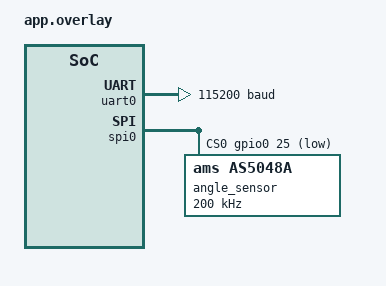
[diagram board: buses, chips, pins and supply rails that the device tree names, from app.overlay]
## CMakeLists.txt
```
# SPDX-License-Identifier: Apache-2.0

cmake_minimum_required(VERSION 3.20.0)

find_package(Zephyr REQUIRED HINTS $ENV{ZEPHYR_BASE})
project(as5048)

target_sources(app PRIVATE src/main.c)
```

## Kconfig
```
# Copyright (c) 2020, Nordic Semiconductor ASA
# SPDX-License-Identifier: Apache-2.0


config LOG
	default y

config LOG_PRINTK
	default y

config SENSOR_LOG_LEVEL
	default 4

# Enable SPI and I2C support by default so that the sample works with
# the device connected either way. These defaults can be overridden if
# needed.
config SPI
	default y

source "Kconfig.zephyr"
```

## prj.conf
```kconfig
CONFIG_SPI=y
CONFIG_GPIO=y
CONFIG_SENSOR=y
CONFIG_AS5048A=y

CONFIG_NEWLIB_LIBC=y
```

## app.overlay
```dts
/{

};

&pinctrl {
    spi0_default: spi0_default{
        group1 {
            psels = <NRF_PSEL(SPIM_SCK, 0, 17)>,
                    <NRF_PSEL(SPIM_MISO, 0, 18)>,
                    <NRF_PSEL(SPIM_MOSI, 0, 24)>;
        };
    };

    uart0_default:uart0_default {
        group1 {
            psels = < NRF_PSEL(UART_TX, 0, 6) >;
        };
        group2 {
            psels = < NRF_PSEL(UART_RX, 0, 8) >;
        };
    };
};

&uart0{
    status = "okay";
    current-speed = < 115200 >;
};

&spi0 {
    status = "okay";
    cs-gpios = <&gpio0 25 GPIO_ACTIVE_LOW>;
    as5048a@0 {
        status = "okay";
        compatible = "ams,as5048a";
        reg = <0x0 >;
        spi-max-frequency = < 200000 >;
        label = "angle_sensor";
    };
};
```

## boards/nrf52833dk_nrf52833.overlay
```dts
/{

};

&spi0 {
    status = "okay";
    cs-gpios = <&gpio0 25 GPIO_ACTIVE_LOW>;
    as5048a@0 {
        status = "okay";
        compatible = "ams,as5048a";
        reg = < 0x00 >;
        spi-max-frequency = < 200000 >;
        label = "as5048a";
    };
};
```

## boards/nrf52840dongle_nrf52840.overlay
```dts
/{
    chosen {
        zephyr,console = &cdc_acm_uart0;
    };
};

&zephyr_udc0 {
	cdc_acm_uart0: cdc_acm_uart0 {
		compatible = "zephyr,cdc-acm-uart";
		label = "CDC_ACM_0";
	};
};

&spi1 {
    status = "okay";
    cs-gpios = <&gpio0 25 GPIO_ACTIVE_LOW>;
    as5048a@0 {
        status = "okay";
        compatible = "ams,as5048a";
        reg = < 0x00 >;
        spi-max-frequency = < 200000 >;
        label = "as5048a";
    };
};
```

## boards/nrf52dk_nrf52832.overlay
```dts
&uart0 {
    status = "okay";
    current-speed = < 115200 >;
};


&spi0 {
    status = "okay";
    cs-gpios = <&gpio0 25 GPIO_ACTIVE_LOW>;
    as5048a@0 {
        status = "okay";
        compatible = "ams,as5048a";
        reg = < 0x00 >;
        spi-max-frequency = < 200000 >;
        label = "as5048a";
    };
};
```

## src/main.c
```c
/*
 * Copyright (c) 2012-2014 Wind River Systems, Inc.
 * Copyright (c) 2021 Nordic Semiconductor ASA
 *
 * SPDX-License-Identifier: Apache-2.0
 */

#include <zephyr.h>
#include <zephyr/device.h>
#include <zephyr/devicetree.h>
#include <zephyr/drivers/sensor.h>
#include <sys/printk.h>


/*
 * Get a device structure from a devicetree node with compatible
 * "ams,as5048a". (If there are multiple, just pick one.)
 */
static const struct device *get_as5048a_device(void)
{
	const struct device *dev = DEVICE_DT_GET_ANY(ams_as5048a);

	if (dev == NULL) {
		/* No such node, or the node does not have status "okay". */
		printk("\nError: no device found.\n");
		return NULL;
	}

	if (!device_is_ready(dev)) {
		printk("\nError: Device \"%s\" is not ready; "
		       "check the driver initialization logs for errors.\n",
		       dev->name);
		return NULL;
	}

	printk("Found device \"%s\", getting sensor data\n", dev->name);
	return dev;
}

void main(void)
{
	printk("Init device\r\n");
	const struct device *dev = get_as5048a_device();

	if (dev == NULL) {
		return;
	}

	while (1) {
		struct sensor_value rotation;
		sensor_sample_fetch(dev);
		if(sensor_channel_get(dev, SENSOR_CHAN_ROTATION, &rotation) == 0){
			printk("Angle: %d.%06d\r\n", rotation.val1, rotation.val2);
		}

		k_sleep(K_MSEC(1000));
	}
}
```
